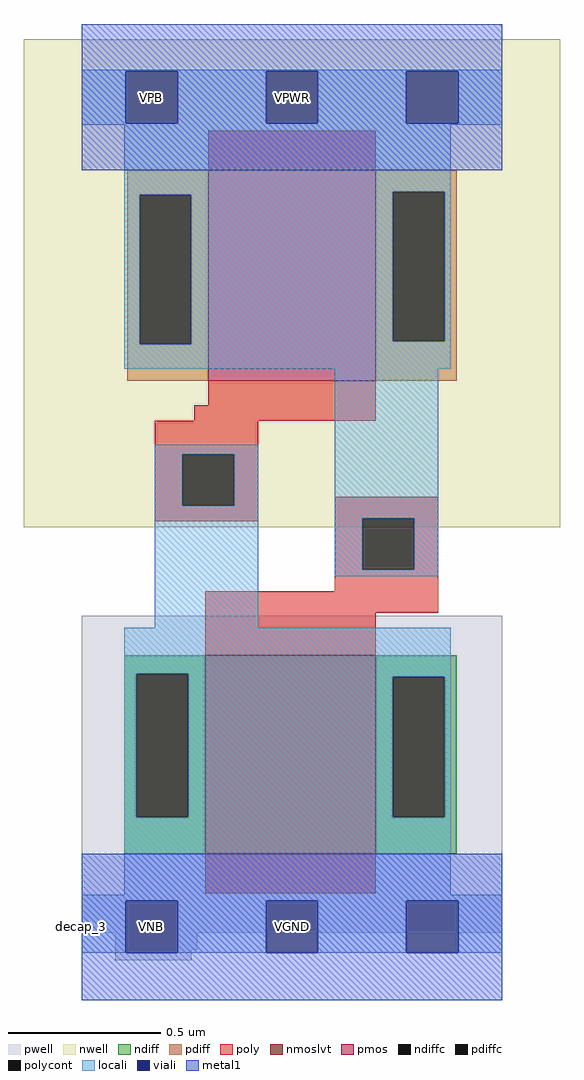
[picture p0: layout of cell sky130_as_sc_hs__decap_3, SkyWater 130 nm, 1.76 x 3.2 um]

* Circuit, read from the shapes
.subckt sky130_as_sc_hs__decap_3 VNB VPB VGND VPWR
XM1 VGND VPWR VGND VNB sky130_fd_pr__nfet_01v8_lvt w=0.65 l=0.56
XM2 VPWR VGND VPWR VPB sky130_fd_pr__pfet_01v8 w=0.69 l=0.55
.ends

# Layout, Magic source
magic
tech sky130A
magscale 1 2
<< nwell >>
rect -38 262 314 582
<< pwell >>
rect 0 -4 276 204
rect 22 -15 76 -4
rect 22 -22 72 -15
<< pmos >>
rect 83 358 193 496
<< nmoslvt >>
rect 81 48 193 178
<< ndiff >>
rect 28 166 81 178
rect 28 72 36 166
rect 70 72 81 166
rect 28 48 81 72
rect 193 164 246 178
rect 193 72 204 164
rect 238 72 246 164
rect 193 48 246 72
<< pdiff >>
rect 30 480 83 496
rect 30 382 38 480
rect 72 382 83 480
rect 30 358 83 382
rect 193 482 246 496
rect 193 384 204 482
rect 238 384 246 482
rect 193 358 246 384
<< ndiffc >>
rect 36 72 70 166
rect 204 72 238 164
<< pdiffc >>
rect 38 382 72 480
rect 204 384 238 482
<< poly >>
rect 83 496 193 522
rect 83 342 193 358
rect 74 332 193 342
rect 48 310 116 332
rect 48 276 66 310
rect 100 276 116 310
rect 48 266 116 276
rect 166 268 234 282
rect 166 234 184 268
rect 218 234 234 268
rect 166 220 234 234
rect 81 206 234 220
rect 81 178 193 206
rect 81 22 193 48
<< polycont >>
rect 66 276 100 310
rect 184 234 218 268
<< locali >>
rect 0 561 276 562
rect 0 527 29 561
rect 63 527 121 561
rect 155 527 213 561
rect 247 527 276 561
rect 0 526 276 527
rect 28 482 242 526
rect 28 480 204 482
rect 28 382 38 480
rect 72 384 204 480
rect 238 384 242 482
rect 72 382 242 384
rect 28 366 242 382
rect 48 310 116 316
rect 48 276 66 310
rect 100 276 116 310
rect 48 196 116 276
rect 166 268 234 366
rect 166 234 184 268
rect 218 234 234 268
rect 166 230 234 234
rect 28 166 242 196
rect 28 72 36 166
rect 70 164 242 166
rect 70 72 204 164
rect 238 72 242 164
rect 28 21 242 72
rect 0 17 276 21
rect 0 -17 29 17
rect 63 -17 121 17
rect 155 -17 213 17
rect 247 -17 276 17
<< viali >>
rect 29 527 63 561
rect 121 527 155 561
rect 213 527 247 561
rect 29 -17 63 17
rect 121 -17 155 17
rect 213 -17 247 17
<< metal1 >>
rect 0 561 276 592
rect 0 527 29 561
rect 63 527 121 561
rect 155 527 213 561
rect 247 527 276 561
rect 0 496 276 527
rect 0 17 276 48
rect 0 -17 29 17
rect 63 -17 121 17
rect 155 -17 213 17
rect 247 -17 276 17
rect 0 -48 276 -17
<< labels >>
rlabel comment s 0 0 0 0 4 decap_3
flabel pwell s 29 -17 63 17 0 FreeSans 200 0 0 0 VNB
port 1 nsew ground bidirectional
flabel pwell s 46 0 46 0 0 FreeSans 200 0 0 0 VNB
flabel nwell s 29 527 63 561 0 FreeSans 200 0 0 0 VPB
port 2 nsew power bidirectional
flabel nwell s 46 544 46 544 0 FreeSans 200 0 0 0 VPB
flabel metal1 s 29 527 63 561 0 FreeSans 200 0 0 0 VPWR
port 4 nsew power bidirectional abutment
rlabel metal1 s 0 496 276 592 1 VPWR
port 4 nsew power bidirectional abutment
rlabel metal1 s 0 -48 276 48 1 VGND
port 3 nsew ground bidirectional abutment
flabel metal1 s 29 -17 63 17 0 FreeSans 200 0 0 0 VGND
port 3 nsew ground bidirectional abutment
<< properties >>
string FIXED_BBOX 0 0 276 544
string GDS_FILE $PDKPATH/libs.ref/sky130_as_sc_hs/gds/sky130_as_sc_hs__decap_3.gds
string LEFclass CORE
string LEFsite unithd
string LEFsymmetry X Y R90
string MASKHINTS_LVTN 0 -4 276 227
string MASKHINTS_NSDM 0 -38 276 203
string MASKHINTS_PSDM 0 333 276 582
<< end >>
